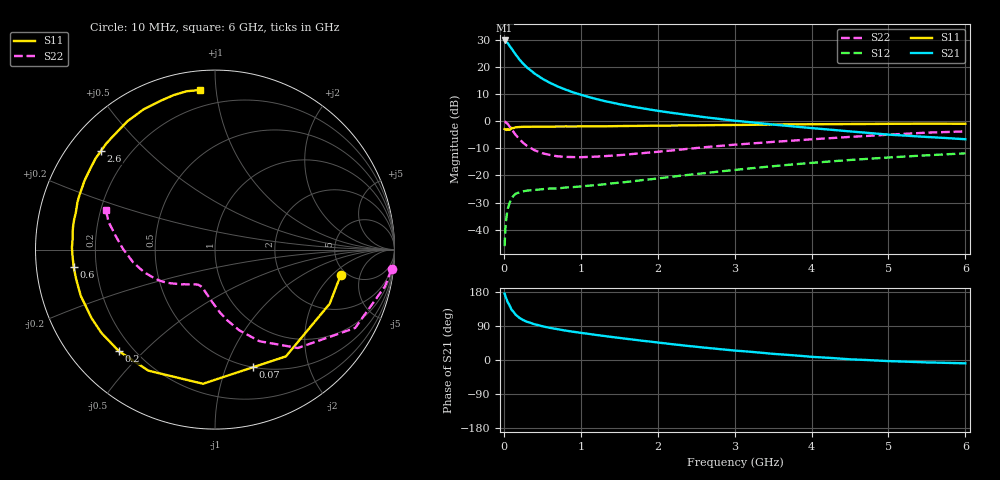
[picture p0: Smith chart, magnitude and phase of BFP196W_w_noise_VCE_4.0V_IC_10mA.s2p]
! Infineon Technologies  Discrete & RF Semiconductors
! BFP196W
! VCE =  4.0 V,  IC =  10 mA
! Common Emitter S-Parameters:  Jan 2017
# GHz  S  MA  R  50
!  f  S11  S21  S12  S22
! GHz  MAG  ANG  MAG  ANG  MAG  ANG  MAG  ANG
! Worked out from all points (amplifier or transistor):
!   77 points, 10 MHz to 6 GHz, reference 50 ohm
!   highest |S21| = 29.7 dB at 10 MHz (marker M1)
!   |S21| within 3 dB of that: start of sweep to 101 MHz
!   unconditionally stable (mu >= 1): 1.252 GHz to 3.213 GHz
!   at 130 MHz: K = 0.15, MSG = 26.4 dB, |S12| = -27.4 dB
!   at 2.2 GHz: K = 1.09, MAG = 9.9 dB, |S12| = -20.4 dB
!   at 6 GHz: K = 0.89, MSG = 2.6 dB, |S12| = -11.9 dB
!   lowest NFmin = 0.91 dB at 450 MHz
!   S11 on the Smith chart (normalised r, x): 10 MHz: 4.42, -2.59; 70 MHz: 0.50, -1.25; 200 MHz: 0.15, -0.42; 600 MHz: 0.12, -0.06; 2.6 GHz: 0.10, +0.37; 6 GHz: 0.10, +0.91
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0.01  0.7144 -11.6  30.45 175.1  0.005 85.8  0.9896 -6.3
0.02  0.7066 -25.3  29.82 168.5  0.0106 81.9  0.9687 -12.2
0.05  0.7141 -56.4  27.29 152.6  0.0244 65.2  0.8947 -29.2
0.07  0.6888 -72.2  24.7 145.8  0.0297 56.3  0.8114 -36.4
0.1  0.7505 -95.1  21.67 132.8  0.0384 47.8  0.7168 -49.9
0.15  0.7698 -118.8  17.06 120.2  0.0458 38.3  0.5676 -64.1
0.2  0.7792 -133.4  13.74 111.6  0.0488 32.1  0.4693 -73.3
0.25  0.7849 -143.8  11.42 105.4  0.0511 29.0  0.3995 -80.2
0.3  0.7867 -151.0  9.711 100.9  0.0526 27.2  0.3507 -85.6
0.4  0.7912 -161.1  7.471 94.1  0.0541 24.8  0.2904 -93.4
0.5  0.7908 -167.8  6.026 89.1  0.0558 25.0  0.2569 -99.3
0.6  0.7934 -172.9  5.057 84.8  0.0575 25.6  0.2378 -103.9
0.7  0.7943 -177.0  4.337 81.3  0.0576 27.1  0.2248 -107.4
0.8  0.7972 179.2  3.81 77.7  0.06 29.0  0.2199 -110.3
1.1  0.8012 170.6  2.785 69.0  0.0648 33.6  0.2196 -117.3
1.5  0.8103 161.1  2.048 58.4  0.0736 39.1  0.2362 -125.4
2.1  0.826 148.4  1.477 43.9  0.0916 45.3  0.281 -137.0
2.6  0.8403 139.1  1.186 32.8  0.1097 47.7  0.33 -146.3
3.1  0.8512 130.7  0.986 23.4  0.1305 47.5  0.3767 -155.5
4.1  0.8772 115.6  0.724 7.2  0.1747 43.4  0.4714 -173.3
5.1  0.8917 104.0  0.553 -3.5  0.2179 36.4  0.5725 170.3
6  0.8929 95.2  0.464 -8.8  0.2552 29.1  0.6469 160.0
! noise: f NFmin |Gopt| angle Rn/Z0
0.45  0.91  0.36  146  0.06
0.9  1.19  0.53  168  0.05
1.9  2.27  0.71  -158  0.1
2.4  2.77  0.76  -149  0.22
